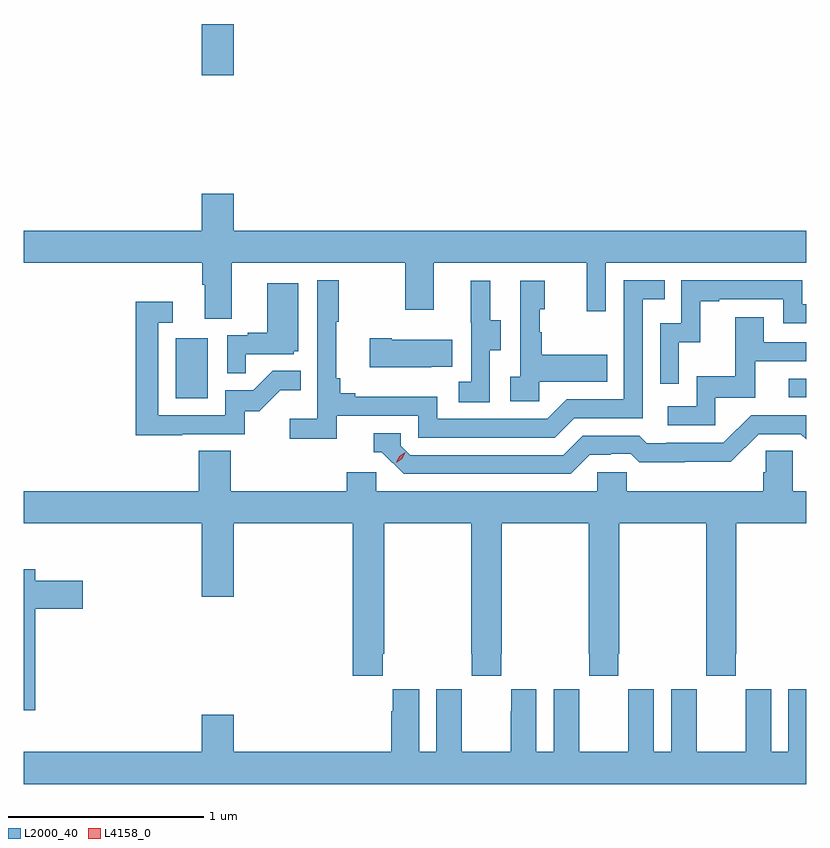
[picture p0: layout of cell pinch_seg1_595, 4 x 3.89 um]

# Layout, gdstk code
import gdstk
lib = gdstk.Library(unit=1e-6, precision=1e-09)
def R(c, l, rs):  # rectangles x0, y0, x1, y1
    for r in rs: c.add(gdstk.rectangle(r[:2], r[2:], *l))
def P(c, l, *ps):  # polygons
    for p in ps: c.add(gdstk.Polygon(p, *l))
L2000_40 = (2000, 40)
L4158_0 = (4158, 0)

pinch_seg1_595 = lib.new_cell('pinch_seg1_595')
R(pinch_seg1_595, L2000_40, [(1063.976,509.748,1064.14,510.055), (1067.109,509.754,1067.199,509.847), (1064.108,511.398,1064.272,511.661)])
P(pinch_seg1_595, L2000_40, [(1064.263,510.44),(1065.148,510.44),(1065.148,510.201),(1065.295,510.201),(1065.295,510.44),(1066.076,510.44),(1066.076,510.192),(1066.173,510.192),(1066.173,510.44),(1067.199,510.44),(1067.199,510.604),(1064.272,510.604),(1064.272,510.793),(1064.108,510.793),(1064.108,510.604),(1063.199,510.604),(1063.199,510.44),(1064.111,510.44),(1064.111,510.328),(1064.123,510.328),(1064.123,510.154),(1064.263,510.154)],
  [(1064.798,509.658),(1065.216,509.658),(1065.216,509.547),(1065.913,509.547),(1066.012,509.646),(1066.362,509.646),(1066.362,510.255),(1066.475,510.255),(1066.475,510.351),(1066.266,510.351),(1066.266,509.742),(1065.975,509.742),(1065.876,509.643),(1065.312,509.643),(1065.312,509.755),(1064.893,509.755),(1064.893,509.774),(1064.816,509.774),(1064.816,509.851),(1064.797,509.851),(1064.797,510.139),(1064.809,510.139),(1064.809,510.352),(1064.7,510.352),(1064.7,509.644),(1064.559,509.644),(1064.559,509.542),(1064.798,509.542)],
  [(1066.548,510.035),(1066.658,510.035),(1066.658,510.243),(1066.753,510.243),(1066.753,510.255),(1067.082,510.255),(1067.082,510.132),(1067.199,510.132),(1067.199,510.228),(1067.178,510.228),(1067.178,510.351),(1066.56,510.351),(1066.56,510.132),(1066.452,510.132),(1066.452,509.823),(1066.548,509.823)],
  [(1065.834,509.831),(1066.181,509.831),(1066.181,509.971),(1065.847,509.971),(1065.847,510.086),(1065.837,510.086),(1065.837,510.204),(1065.862,510.204),(1065.862,510.349),(1065.738,510.349),(1065.738,509.858),(1065.687,509.858),(1065.687,509.733),(1065.834,509.733)],
  [(1065.582,509.992),(1065.637,509.992),(1065.637,510.147),(1065.583,510.147),(1065.583,510.349),(1065.485,510.349),(1065.485,510.135),(1065.486,510.135),(1065.486,509.831),(1065.423,509.831),(1065.423,509.728),(1065.582,509.728)],
  [(1064.333,509.973),(1064.58,509.973),(1064.58,509.988),(1064.602,509.988),(1064.602,510.337),(1064.444,510.337),(1064.444,510.082),(1064.345,510.082),(1064.345,510.069),(1064.238,510.069),(1064.238,509.875),(1064.333,509.875)],
  [(1064.009,509.565),(1064.328,509.565),(1064.328,509.682),(1064.404,509.682),(1064.511,509.789),(1064.615,509.789),(1064.615,509.888),(1064.471,509.888),(1064.373,509.79),(1064.229,509.79),(1064.229,509.661),(1063.887,509.661),(1063.887,510.135),(1063.96,510.135),(1063.96,510.241),(1063.771,510.241),(1063.771,509.56),(1064.009,509.56)],
  [(1066.734,509.751),(1066.939,509.751),(1066.939,509.937),(1067.199,509.937),(1067.199,510.033),(1066.981,510.033),(1066.981,510.163),(1066.837,510.163),(1066.837,509.86),(1066.638,509.86),(1066.638,509.706),(1066.491,509.706),(1066.491,509.61),(1066.734,509.61)],
  [(1065.281,509.909),(1065.389,509.909),(1065.389,510.046),(1065.079,510.046),(1065.079,510.054),(1064.967,510.054),(1064.967,509.906),(1065.281,509.906)],
  [(1066.093,509.46),(1066.2,509.46),(1066.2,509.463),(1066.303,509.463),(1066.345,509.421),(1066.578,509.421),(1066.578,509.423),(1066.814,509.423),(1066.956,509.565),(1067.172,509.565),(1067.199,509.538),(1067.199,509.661),(1066.917,509.661),(1066.776,509.52),(1066.483,509.52),(1066.483,509.517),(1066.384,509.517),(1066.345,509.556),(1066.056,509.556),(1065.957,509.457),(1065.174,509.457),(1065.126,509.505),(1065.126,509.568),(1064.987,509.568),(1064.987,509.472),(1065.03,509.472),(1065.141,509.361),(1065.994,509.361)],
  [(1065,509.37),(1064.849,509.37),(1064.849,509.272),(1064.258,509.272),(1064.258,509.48),(1064.093,509.48),(1064.093,509.272),(1063.199,509.272),(1063.199,509.108),(1064.108,509.108),(1064.108,508.734),(1064.272,508.734),(1064.272,509.108),(1064.882,509.108),(1064.882,508.329),(1065.035,508.329),(1065.035,508.441),(1065.042,508.441),(1065.042,509.108),(1065.487,509.108),(1065.487,508.441),(1065.489,508.441),(1065.489,508.329),(1065.639,508.329),(1065.639,508.441),(1065.642,508.441),(1065.642,509.108),(1066.087,509.108),(1066.087,508.441),(1066.089,508.441),(1066.089,508.329),(1066.239,508.329),(1066.239,508.441),(1066.242,508.441),(1066.242,509.108),(1066.687,509.108),(1066.687,508.441),(1066.689,508.441),(1066.689,508.329),(1066.839,508.329),(1066.839,508.441),(1066.842,508.441),(1066.842,509.108),(1067.199,509.108),(1067.199,509.272),(1067.13,509.272),(1067.13,509.48),(1066.993,509.48),(1066.993,509.37),(1066.979,509.37),(1066.979,509.272),(1066.281,509.272),(1066.281,509.37),(1066.131,509.37),(1066.131,509.272),(1065,509.272)],
  [(1063.258,508.673),(1063.501,508.673),(1063.501,508.815),(1063.258,508.815),(1063.258,508.873),(1063.199,508.873),(1063.199,508.152),(1063.258,508.152)],
  [(1067.199,508.261),(1067.108,508.261),(1067.108,507.94),(1067.02,507.94),(1067.02,508.261),(1066.89,508.261),(1066.89,508.148),(1066.889,508.148),(1066.889,507.94),(1066.639,507.94),(1066.639,508.148),(1066.638,508.148),(1066.638,508.261),(1066.508,508.261),(1066.508,507.94),(1066.42,507.94),(1066.42,508.261),(1066.29,508.261),(1066.29,508.148),(1066.289,508.148),(1066.289,507.94),(1066.039,507.94),(1066.039,508.148),(1066.038,508.148),(1066.038,508.261),(1065.908,508.261),(1065.908,507.94),(1065.82,507.94),(1065.82,508.261),(1065.69,508.261),(1065.69,508.148),(1065.689,508.148),(1065.689,507.94),(1065.439,507.94),(1065.439,508.148),(1065.438,508.148),(1065.438,508.261),(1065.308,508.261),(1065.308,507.94),(1065.22,507.94),(1065.22,508.261),(1065.086,508.261),(1065.086,508.148),(1065.077,508.148),(1065.077,507.94),(1064.272,507.94),(1064.272,508.129),(1064.108,508.129),(1064.108,507.94),(1063.199,507.94),(1063.199,507.776),(1067.199,507.776)])
P(pinch_seg1_595, L4158_0, [(1065.103,509.419),(1065.103,509.419),(1065.119,509.452),(1065.149,509.471),(1065.149,509.471),(1065.149,509.471),(1065.134,509.438),(1065.104,509.419)])

lib.write_gds('pinch_seg1_595.gds')
